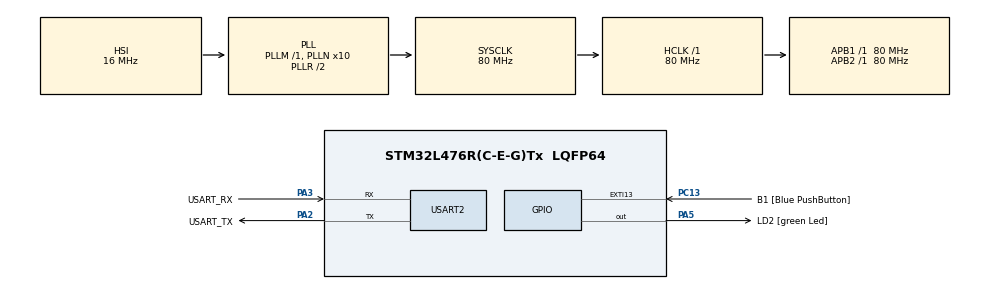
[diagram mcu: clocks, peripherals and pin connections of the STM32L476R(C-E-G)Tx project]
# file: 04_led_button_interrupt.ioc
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FREERTOS.Tasks01=defaultTask,0,128,StartDefaultTask,Default,NULL,Dynamic,NULL,NULL
Mcu.Family=STM32L4
Mcu.Name=STM32L476R(C-E-G)Tx
Mcu.Package=LQFP64
NVIC.EXTI15_10_IRQn=true\:5\:0\:true\:false\:true\:true\:true\:true\:true
NVIC.PriorityGroup=NVIC_PRIORITYGROUP_4
PA13\ (JTMS-SWDIO).GPIO_Label=TMS
PA13\ (JTMS-SWDIO).Mode=Serial_Wire
PA13\ (JTMS-SWDIO).Signal=SYS_JTMS-SWDIO
PA14\ (JTCK-SWCLK).GPIO_Label=TCK
PA14\ (JTCK-SWCLK).Mode=Serial_Wire
PA14\ (JTCK-SWCLK).Signal=SYS_JTCK-SWCLK
PA2.GPIO_Label=USART_TX
PA2.GPIO_Mode=GPIO_MODE_AF_PP
PA2.GPIO_PuPd=GPIO_NOPULL
PA2.GPIO_Speed=GPIO_SPEED_FREQ_VERY_HIGH
PA2.Mode=Asynchronous
PA2.Signal=USART2_TX
PA3.GPIO_Label=USART_RX
PA3.GPIO_Mode=GPIO_MODE_AF_PP
PA3.GPIO_PuPd=GPIO_NOPULL
PA3.GPIO_Speed=GPIO_SPEED_FREQ_VERY_HIGH
PA3.Mode=Asynchronous
PA3.Signal=USART2_RX
PA5.GPIO_Label=LD2 [green Led]
PA5.GPIO_ModeDefaultOutputPP=GPIO_MODE_OUTPUT_PP
PA5.GPIO_PuPd=GPIO_NOPULL
PA5.GPIO_Speed=GPIO_SPEED_FREQ_LOW
PA5.Signal=GPIO_Output
PB3\ (JTDO-TRACESWO).GPIO_Label=SWO
PB3\ (JTDO-TRACESWO).Signal=SYS_JTDO-SWO
PC13.GPIO_Label=B1 [Blue PushButton]
PC13.GPIO_ModeDefaultEXTI=GPIO_MODE_IT_FALLING
PC13.GPIO_PuPd=GPIO_NOPULL
PC13.Signal=GPXTI13
PC14-OSC32_IN\ (PC14).Mode=LSE-External-Oscillator
PC14-OSC32_IN\ (PC14).Signal=RCC_OSC32_IN
PC15-OSC32_OUT\ (PC15).Mode=LSE-External-Oscillator
PC15-OSC32_OUT\ (PC15).Signal=RCC_OSC32_OUT
PH0-OSC_IN\ (PH0).Signal=RCC_OSC_IN
PH1-OSC_OUT\ (PH1).Signal=RCC_OSC_OUT
ProjectManager.HeapSize=0x200
ProjectManager.StackSize=0x400
ProjectManager.TargetToolchain=STM32CubeIDE
RCC.ADCFreq_Value=64000000
RCC.AHBFreq_Value=80000000
RCC.APB1Freq_Value=80000000
RCC.APB1TimFreq_Value=80000000
RCC.APB2Freq_Value=80000000
RCC.APB2TimFreq_Value=80000000
RCC.CortexFreq_Value=80000000
RCC.HCLKFreq_Value=80000000
RCC.HSE_VALUE=8000000
RCC.HSI_VALUE=16000000
RCC.MSI_VALUE=4000000
RCC.PLLN=10
RCC.PLLSourceVirtual=RCC_PLLSOURCE_HSI
RCC.PREFETCH_ENABLE=1
RCC.SYSCLKFreq_VALUE=80000000
RCC.SYSCLKSource=RCC_SYSCLKSOURCE_PLLCLK
RCC.USBFreq_Value=64000000
RCC.VCOOutputFreq_Value=160000000
USART2.VirtualMode-Asynchronous=VM_ASYNC
VP_FREERTOS_VS_CMSIS_V1.Mode=CMSIS_V1
board=NUCLEO-L476RG

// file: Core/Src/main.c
/* USER CODE BEGIN Header */
/**
  ******************************************************************************
  * @file           : main.c
  * @brief          : Main program body
  ******************************************************************************
  * @attention
  *
  * Copyright (c) 2025 STMicroelectronics.
  * All rights reserved.
  *
  * This software is licensed under terms that can be found in the LICENSE file
  * in the root directory of this software component.
  * If no LICENSE file comes with this software, it is provided AS-IS.
  *
  ******************************************************************************
  */
/* USER CODE END Header */
#include "main.h"
#include "cmsis_os.h"

/* USER CODE BEGIN PM */

#define NOT_PRESSED		0
#define PRESSED			1

/* USER CODE END PM */

UART_HandleTypeDef huart2;

osThreadId defaultTaskHandle;

void SystemClock_Config(void);
static void MX_GPIO_Init(void);
static void MX_USART2_UART_Init(void);
void StartDefaultTask(void const * argument);

/* USER CODE BEGIN PFP */

uint8_t button_status = NOT_PRESSED;

/* USER CODE END PFP */

/* USER CODE BEGIN 0 */

// Function to update button status
void button_handler(void *p)
{
	button_status ^= 1;  // toggle the value of button_status
	                     // (if 0 → 1, if 1 → 0)
}

// Interrupt Service Routine for external interrupts on lines 15 to 10.
void EXTI15_10_IRQHandler(void)
{
  // Clear the interrupt flag for pin PC13
  HAL_GPIO_EXTI_IRQHandler(GPIO_PIN_13);

  // Handle button press (toggle button_status)
  button_handler(NULL);
}

// Task to control LED depending on button status
void led_task(void *p)
{
	while(1)   // run forever
	{
		if(button_status == PRESSED)   // if button is pressed
		{
			HAL_GPIO_WritePin(GPIOA, GPIO_PIN_5, SET);   // LED ON
			vTaskDelay(1000);    // small delay
		}
		else   // if button not pressed
		{
			HAL_GPIO_WritePin(GPIOA, GPIO_PIN_5, RESET); // LED OFF
		}
	}
}

/* USER CODE END 0 */

int main(void)
{

  /* MCU Configuration--------------------------------------------------------*/

  /* Reset of all peripherals, Initializes the Flash interface and the Systick. */
  HAL_Init();

  /* Configure the system clock */
  SystemClock_Config();

  /* Initialize all configured peripherals */
  MX_GPIO_Init();
  MX_USART2_UART_Init();

  /* Create the thread(s) */
  /* definition and creation of defaultTask */
  osThreadDef(defaultTask, StartDefaultTask, osPriorityNormal, 0, 128);
  defaultTaskHandle = osThreadCreate(osThread(defaultTask), NULL);

  /* USER CODE BEGIN RTOS_THREADS */
  /* add threads, ... */
  xTaskCreate(led_task, "LED", configMINIMAL_STACK_SIZE, NULL, 1,NULL);
  /* USER CODE END RTOS_THREADS */

  /* Start scheduler */
  osKernelStart();

  /* We should never get here as control is now taken by the scheduler */

  /* Infinite loop */
  while (1)
  {

  }
}

void SystemClock_Config(void)
{
  RCC_OscInitTypeDef RCC_OscInitStruct = {0};
  RCC_ClkInitTypeDef RCC_ClkInitStruct = {0};

  /** Configure the main internal regulator output voltage
  */
  if (HAL_PWREx_ControlVoltageScaling(PWR_REGULATOR_VOLTAGE_SCALE1) != HAL_OK)
  {
    Error_Handler();
  }

  /** Initializes the RCC Oscillators according to the specified parameters
  * in the RCC_OscInitTypeDef structure.
  */
  RCC_OscInitStruct.OscillatorType = RCC_OSCILLATORTYPE_HSI;
  RCC_OscInitStruct.HSIState = RCC_HSI_ON;
  RCC_OscInitStruct.HSICalibrationValue = RCC_HSICALIBRATION_DEFAULT;
  RCC_OscInitStruct.PLL.PLLState = RCC_PLL_ON;
  RCC_OscInitStruct.PLL.PLLSource = RCC_PLLSOURCE_HSI;
  RCC_OscInitStruct.PLL.PLLM = 1;
  RCC_OscInitStruct.PLL.PLLN = 10;
  RCC_OscInitStruct.PLL.PLLP = RCC_PLLP_DIV7;
  RCC_OscInitStruct.PLL.PLLQ = RCC_PLLQ_DIV2;
  RCC_OscInitStruct.PLL.PLLR = RCC_PLLR_DIV2;
  if (HAL_RCC_OscConfig(&RCC_OscInitStruct) != HAL_OK)
  {
    Error_Handler();
  }

  /** Initializes the CPU, AHB and APB buses clocks
  */
  RCC_ClkInitStruct.ClockType = RCC_CLOCKTYPE_HCLK|RCC_CLOCKTYPE_SYSCLK
                              |RCC_CLOCKTYPE_PCLK1|RCC_CLOCKTYPE_PCLK2;
  RCC_ClkInitStruct.SYSCLKSource = RCC_SYSCLKSOURCE_PLLCLK;
  RCC_ClkInitStruct.AHBCLKDivider = RCC_SYSCLK_DIV1;
  RCC_ClkInitStruct.APB1CLKDivider = RCC_HCLK_DIV1;
  RCC_ClkInitStruct.APB2CLKDivider = RCC_HCLK_DIV1;

  if (HAL_RCC_ClockConfig(&RCC_ClkInitStruct, FLASH_LATENCY_4) != HAL_OK)
  {
    Error_Handler();
  }
}

static void MX_USART2_UART_Init(void)
{

  huart2.Instance = USART2;
  huart2.Init.BaudRate = 115200;
  huart2.Init.WordLength = UART_WORDLENGTH_8B;
  huart2.Init.StopBits = UART_STOPBITS_1;
  huart2.Init.Parity = UART_PARITY_NONE;
  huart2.Init.Mode = UART_MODE_TX_RX;
  huart2.Init.HwFlowCtl = UART_HWCONTROL_NONE;
  huart2.Init.OverSampling = UART_OVERSAMPLING_16;
  huart2.Init.OneBitSampling = UART_ONE_BIT_SAMPLE_DISABLE;
  huart2.AdvancedInit.AdvFeatureInit = UART_ADVFEATURE_NO_INIT;
  if (HAL_UART_Init(&huart2) != HAL_OK)
  {
    Error_Handler();
  }

}

static void MX_GPIO_Init(void)
{
  GPIO_InitTypeDef GPIO_InitStruct = {0};

  /* GPIO Ports Clock Enable */
  __HAL_RCC_GPIOC_CLK_ENABLE();
  __HAL_RCC_GPIOH_CLK_ENABLE();
  __HAL_RCC_GPIOA_CLK_ENABLE();
  __HAL_RCC_GPIOB_CLK_ENABLE();

  /*Configure GPIO pin Output Level */
  HAL_GPIO_WritePin(LD2_GPIO_Port, LD2_Pin, GPIO_PIN_RESET);

  /*Configure GPIO pin : B1_Pin */
  GPIO_InitStruct.Pin = B1_Pin;
  GPIO_InitStruct.Mode = GPIO_MODE_IT_FALLING;
  GPIO_InitStruct.Pull = GPIO_NOPULL;
  HAL_GPIO_Init(B1_GPIO_Port, &GPIO_InitStruct);

  /*Configure GPIO pin : LD2_Pin */
  GPIO_InitStruct.Pin = LD2_Pin;
  GPIO_InitStruct.Mode = GPIO_MODE_OUTPUT_PP;
  GPIO_InitStruct.Pull = GPIO_NOPULL;
  GPIO_InitStruct.Speed = GPIO_SPEED_FREQ_LOW;
  HAL_GPIO_Init(LD2_GPIO_Port, &GPIO_InitStruct);

  /* EXTI interrupt init*/
  HAL_NVIC_SetPriority(EXTI15_10_IRQn, 5, 0);
  HAL_NVIC_EnableIRQ(EXTI15_10_IRQn);

}

void StartDefaultTask(void const * argument)
{
  for(;;)
  {
    osDelay(1);
  }
}

void Error_Handler(void)
{
  __disable_irq();
  while (1)
  {
  }
}
